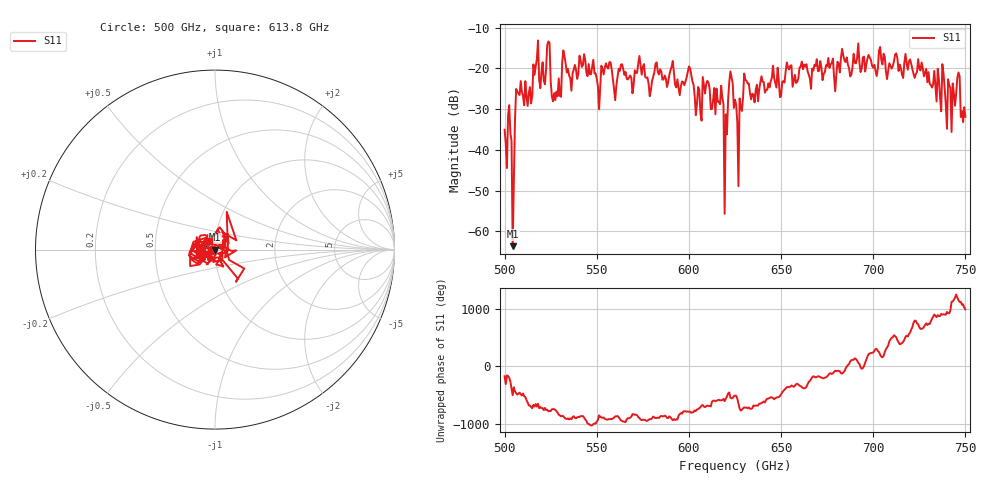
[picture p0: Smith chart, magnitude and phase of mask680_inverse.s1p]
!Created with skrf (http://scikit-rf.org).
# GHz S MA R 50.0
!freq magS11 angS11
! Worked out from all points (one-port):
!   401 points, 500 GHz to 750 GHz, reference 50 ohm
!   lowest |S11| = -63.7 dB at 504.4 GHz (marker M1), VSWR 1.00, Z = 49.9 - j0.0421 ohm
!   |S11| at or under -10 dB: start of sweep to end of sweep
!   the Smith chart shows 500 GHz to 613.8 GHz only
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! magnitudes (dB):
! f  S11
! 500 GHz  -35.1
! 502.5 GHz  -29.0
! 504.4 GHz  -63.7
! 507.5 GHz  -26.1
! 513.8 GHz  -24.6
! 516.9 GHz  -19.5
! 520.6 GHz  -18.5
! 523.8 GHz  -13.4
! 526.9 GHz  -26.1
! 531.2 GHz  -18.4
! 562.5 GHz  -20.6
! 593.8 GHz  -22.7
! 600 GHz  -19.5
! 605.6 GHz  -25.2
! 608.8 GHz  -26.2
! 616.2 GHz  -28.2
! 620 GHz  -31.3
! 622.5 GHz  -20.7
! 625 GHz  -27.7
! 627.5 GHz  -27.4
! 631.2 GHz  -23.1
! 634.4 GHz  -26.2
! 656.2 GHz  -24.5
! 687.5 GHz  -22.0
! 718.8 GHz  -20.3
! 741.2 GHz  -24.2
! 745.6 GHz  -22.3
! 750 GHz  -31.9
